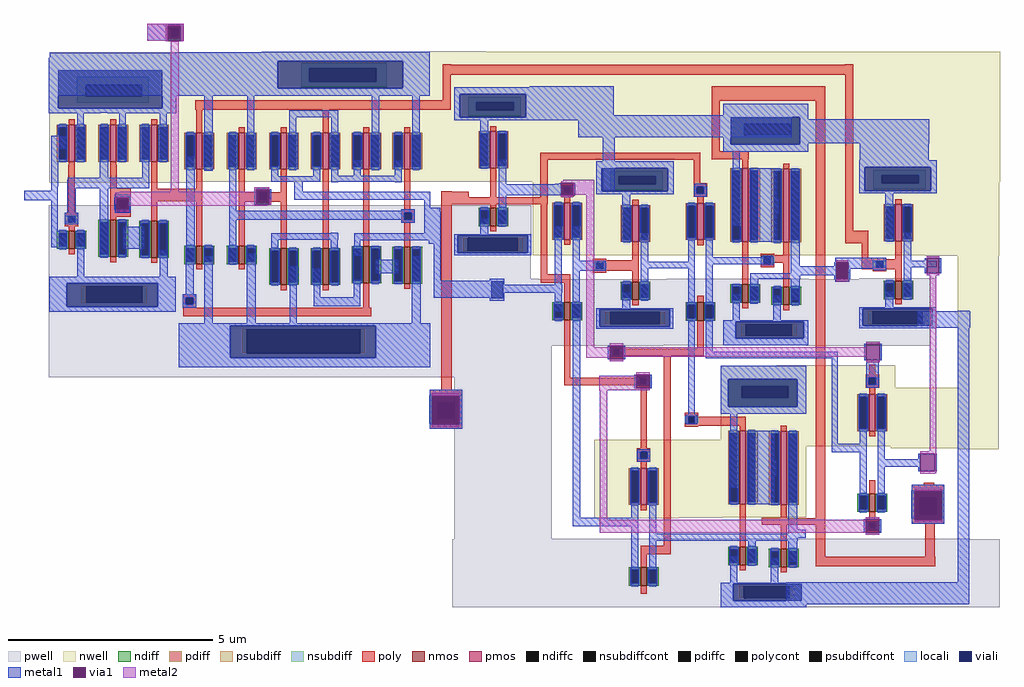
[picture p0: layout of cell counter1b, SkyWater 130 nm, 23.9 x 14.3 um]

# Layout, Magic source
magic
tech sky130A
<< nwell >>
rect 1539 1212 1676 1213
rect 608 891 961 1211
rect 1533 893 2935 1212
<< pwell >>
rect 606 415 1786 836
rect 2776 -54 2804 -16
<< poly >>
rect 892 1268 935 1281
rect 892 1250 905 1268
rect 922 1250 935 1268
rect 892 1238 935 1250
rect 1571 1180 1590 1181
rect 2556 1180 2576 1181
rect 1571 1155 2576 1180
rect 1571 1093 1590 1155
rect 1277 1070 1590 1093
rect 765 848 807 876
rect 765 831 779 848
rect 796 831 807 848
rect 856 846 982 876
rect 1114 867 1145 876
rect 1114 849 1122 867
rect 1139 849 1145 867
rect 1114 837 1145 849
rect 1567 869 1593 870
rect 1567 839 1598 869
rect 765 808 807 831
rect 1567 384 1593 839
rect 2556 773 2576 1155
rect 2556 743 2612 773
rect 2597 708 2612 743
rect 2597 704 2637 708
rect 2597 679 2667 704
rect 1538 352 1618 384
rect 1538 314 1558 352
rect 1598 314 1618 352
rect 1538 289 1618 314
rect 2748 151 2774 157
rect 2719 119 2799 151
rect 2719 81 2739 119
rect 2779 81 2799 119
rect 2719 56 2799 81
rect 2484 -25 2507 56
rect 2752 -25 2775 56
rect 2484 -48 2776 -25
<< polycont >>
rect 905 1250 922 1268
rect 779 831 796 848
rect 1122 849 1139 867
rect 1558 314 1598 352
rect 2739 81 2779 119
<< locali >>
rect 897 1271 928 1278
rect 897 1244 900 1271
rect 925 1244 928 1271
rect 897 1238 928 1244
rect 1114 870 1145 877
rect 767 856 805 858
rect 767 823 770 856
rect 802 823 805 856
rect 1114 843 1117 870
rect 1142 843 1145 870
rect 1114 837 1145 843
rect 767 819 805 823
rect 1537 370 1618 371
rect 1537 302 1545 370
rect 1611 302 1618 370
rect 2718 137 2799 138
rect 2718 69 2726 137
rect 2792 69 2799 137
<< viali >>
rect 900 1268 925 1271
rect 900 1250 905 1268
rect 905 1250 922 1268
rect 922 1250 925 1268
rect 900 1244 925 1250
rect 770 848 802 856
rect 770 831 779 848
rect 779 831 796 848
rect 796 831 802 848
rect 770 823 802 831
rect 1117 867 1142 870
rect 1117 849 1122 867
rect 1122 849 1139 867
rect 1139 849 1142 867
rect 1117 843 1142 849
rect 1545 352 1611 370
rect 1545 314 1558 352
rect 1558 314 1598 352
rect 1598 314 1611 352
rect 1545 298 1611 314
rect 2726 119 2792 137
rect 2726 81 2739 119
rect 2739 81 2779 119
rect 2779 81 2792 119
rect 2726 65 2792 81
<< metal1 >>
rect 847 1276 936 1281
rect 847 1239 897 1276
rect 892 1238 897 1239
rect 929 1239 936 1276
rect 929 1238 935 1239
rect 608 1104 931 1210
rect 1114 875 1145 876
rect 545 848 627 871
rect 767 856 805 863
rect 767 854 770 856
rect 802 854 805 856
rect 766 825 770 854
rect 802 825 806 854
rect 1109 837 1114 875
rect 1146 837 1151 875
rect 767 823 770 825
rect 802 823 805 825
rect 767 817 805 823
rect 1548 800 1566 820
rect 1536 742 1566 800
rect 1548 651 1566 742
rect 2529 655 2534 696
rect 2563 655 2568 696
rect 1548 610 1717 651
rect 1538 370 1618 384
rect 1538 298 1545 370
rect 1611 298 1618 370
rect 1538 289 1618 298
rect 2719 137 2799 151
rect 2719 65 2726 137
rect 2792 65 2799 137
rect 2719 56 2799 65
<< via1 >>
rect 897 1271 929 1276
rect 897 1244 900 1271
rect 900 1244 925 1271
rect 925 1244 929 1271
rect 897 1238 929 1244
rect 771 825 801 854
rect 1114 870 1146 875
rect 1114 843 1117 870
rect 1117 843 1142 870
rect 1142 843 1146 870
rect 1114 837 1146 843
rect 2534 655 2563 696
rect 1545 298 1611 370
rect 2726 65 2792 137
<< metal2 >>
rect 847 1276 936 1281
rect 847 1239 897 1276
rect 892 1238 897 1239
rect 929 1239 936 1276
rect 929 1238 935 1239
rect 904 869 924 1238
rect 1109 875 1146 880
rect 1109 869 1114 875
rect 779 866 1114 869
rect 769 854 1114 866
rect 769 840 771 854
rect 801 837 1114 854
rect 1146 837 1150 851
rect 801 835 1142 837
rect 771 820 801 825
rect 2534 696 2563 701
rect 2534 650 2563 655
rect 1545 370 1611 375
rect 1545 293 1611 298
rect 2726 137 2792 142
rect 2726 60 2792 65
use and  and_0
transform -1 0 918 0 1 893
box 0 -319 312 304
use xor2  xor2_0
transform -1 0 1538 0 1 893
box -26 -454 618 319
use dffc  dffc_0
transform 1 0 2027 0 1 396
box -433 -545 907 731
<< end >>

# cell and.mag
magic
tech sky130A
magscale 1 2
<< nwell >>
rect 0 336 624 608
<< pwell >>
rect 620 -638 622 -504
<< psubdiff >>
rect 144 -592 168 -510
rect 442 -592 466 -510
<< nsubdiff >>
rect 134 476 488 516
rect 134 420 170 476
rect 444 420 488 476
rect 134 388 488 420
<< psubdiffcont >>
rect 168 -592 442 -510
<< nsubdiffcont >>
rect 170 420 444 476
<< poly >>
rect 94 -34 124 90
rect 292 -32 324 84
rect 0 -94 124 -34
rect 222 -92 324 -32
rect 94 -170 124 -94
rect 292 -170 324 -92
rect 498 -150 530 84
rect 480 -216 546 -150
<< viali >>
rect 68 476 578 546
rect 68 420 170 476
rect 170 420 444 476
rect 444 420 578 476
rect 68 362 578 420
rect 92 -510 536 -496
rect 92 -592 168 -510
rect 168 -592 442 -510
rect 442 -592 536 -510
rect 92 -612 536 -592
<< metal1 >>
rect 0 546 624 608
rect 0 362 68 546
rect 578 362 624 546
rect 0 338 624 362
rect 0 336 336 338
rect 370 336 624 338
rect 48 100 82 336
rect 132 20 168 278
rect 248 170 280 336
rect 248 112 284 170
rect 248 108 280 112
rect 334 20 374 264
rect 454 96 486 336
rect 580 224 612 226
rect 538 162 612 224
rect 132 12 532 20
rect 132 -32 534 12
rect 578 -22 612 162
rect 158 -328 260 -220
rect 42 -464 82 -334
rect 334 -368 374 -32
rect 492 -150 534 -32
rect 480 -206 546 -150
rect 580 -258 612 -22
rect 452 -464 486 -258
rect 540 -320 612 -258
rect 2 -496 622 -464
rect 2 -612 92 -496
rect 536 -612 622 -496
rect 2 -636 622 -612
use sky130_fd_pr__nfet_01v8_P8KVP3  sky130_fd_pr__nfet_01v8_P8KVP3_0
transform 1 0 109 0 1 -280
box -73 -116 73 116
use sky130_fd_pr__nfet_01v8_P8KVP3  sky130_fd_pr__nfet_01v8_P8KVP3_1
transform 1 0 309 0 1 -276
box -73 -116 73 116
use sky130_fd_pr__nfet_01v8_J83WCX  sky130_fd_pr__nfet_01v8_J83WCX_0
transform 1 0 513 0 1 -252
box -73 -102 73 102
use sky130_fd_pr__pfet_01v8_BHXHFC  sky130_fd_pr__pfet_01v8_BHXHFC_0
transform 1 0 109 0 1 154
box -109 -154 109 188
use sky130_fd_pr__pfet_01v8_BHXHFC  sky130_fd_pr__pfet_01v8_BHXHFC_1
transform 1 0 309 0 1 154
box -109 -154 109 188
use sky130_fd_pr__pfet_01v8_BHXHFC  sky130_fd_pr__pfet_01v8_BHXHFC_2
transform 1 0 513 0 1 154
box -109 -154 109 188
<< end >>

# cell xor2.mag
magic
tech sky130A
magscale 1 2
<< nwell >>
rect 0 542 1236 636
rect -2 238 1236 542
rect 0 206 1236 238
rect 134 0 686 30
rect 818 0 1236 206
<< pwell >>
rect -2 -486 1230 -306
rect -4 -908 1230 -486
<< psubdiff >>
rect 314 -838 338 -722
rect 896 -838 920 -722
<< nsubdiff >>
rect 210 556 628 584
rect 210 492 260 556
rect 590 492 628 556
rect 210 464 628 492
<< psubdiffcont >>
rect 338 -838 896 -722
<< nsubdiffcont >>
rect 260 492 590 556
<< poly >>
rect 494 354 1148 400
rect 494 268 524 354
rect 1112 260 1142 354
rect 94 -134 124 42
rect 72 -150 138 -134
rect 72 -184 88 -150
rect 124 -184 138 -150
rect 72 -200 138 -184
rect 94 -304 124 -200
rect 294 -302 324 44
rect 494 -302 524 44
rect 698 -50 728 44
rect 904 -50 934 40
rect 698 -98 934 -50
rect 698 -302 728 -98
rect 904 -306 934 -98
rect 1112 -304 1142 42
rect 294 -616 324 -512
rect 1142 -566 1208 -550
rect 1142 -600 1158 -566
rect 1194 -600 1208 -566
rect 1142 -616 1208 -600
rect 286 -618 1208 -616
rect 286 -658 1206 -618
<< polycont >>
rect 88 -184 124 -150
rect 1158 -600 1194 -566
<< locali >>
rect 72 -150 138 -134
rect 72 -184 88 -150
rect 124 -184 138 -150
rect 72 -200 138 -184
rect 1142 -566 1208 -550
rect 1142 -600 1158 -566
rect 1194 -600 1208 -566
rect 1142 -616 1208 -600
<< viali >>
rect 132 556 744 590
rect 132 492 260 556
rect 260 492 590 556
rect 590 492 744 556
rect 132 458 744 492
rect 88 -184 124 -150
rect 1158 -600 1194 -566
rect 264 -722 976 -704
rect 264 -838 338 -722
rect 338 -838 896 -722
rect 896 -838 976 -722
rect 264 -860 976 -838
<< metal1 >>
rect 0 636 822 638
rect 0 590 1236 636
rect 0 458 132 590
rect 744 458 1236 590
rect 0 422 1236 458
rect 48 62 84 422
rect 136 30 170 104
rect 246 58 282 422
rect 448 316 686 352
rect 336 30 370 106
rect 448 30 482 316
rect 136 0 482 30
rect 536 28 570 78
rect 652 58 686 316
rect 740 28 774 78
rect 858 58 892 422
rect 536 0 776 28
rect 136 -2 170 0
rect 448 -2 482 0
rect 622 -48 662 0
rect -4 -88 662 -48
rect -4 -126 26 -88
rect -52 -200 26 -126
rect 72 -142 138 -134
rect 946 -142 980 230
rect 1062 56 1102 422
rect 72 -150 980 -142
rect 72 -184 88 -150
rect 124 -184 980 -150
rect 72 -200 138 -184
rect -4 -250 26 -200
rect 450 -250 484 -248
rect -4 -286 368 -250
rect 448 -282 776 -250
rect 338 -362 368 -286
rect 450 -332 484 -282
rect 742 -334 776 -282
rect 44 -692 86 -364
rect 154 -446 264 -380
rect 338 -564 370 -480
rect 534 -532 568 -426
rect 536 -564 568 -532
rect 338 -608 568 -564
rect 650 -692 684 -414
rect 852 -692 894 -352
rect 946 -388 980 -184
rect 1062 -692 1104 -364
rect 1150 -366 1192 124
rect 1150 -394 1194 -366
rect 1154 -550 1194 -394
rect 1142 -566 1208 -550
rect 1142 -600 1158 -566
rect 1194 -600 1208 -566
rect 1142 -616 1208 -600
rect -4 -704 1228 -692
rect -4 -860 264 -704
rect 976 -860 1228 -704
rect -4 -908 1228 -860
use sky130_fd_pr__nfet_01v8_P8KVP3  sky130_fd_pr__nfet_01v8_P8KVP3_1
transform 1 0 309 0 1 -406
box -73 -116 73 116
use sky130_fd_pr__nfet_01v8_P8KVP3  sky130_fd_pr__nfet_01v8_P8KVP3_0
transform 1 0 109 0 1 -408
box -73 -116 73 116
use sky130_fd_pr__nfet_01v8_P8KVP3  sky130_fd_pr__nfet_01v8_P8KVP3_2
transform 1 0 509 0 1 -414
box -73 -116 73 116
use sky130_fd_pr__nfet_01v8_J836M4  sky130_fd_pr__nfet_01v8_J836M4_0
transform 1 0 919 0 1 -357
box -73 -71 73 71
use sky130_fd_pr__nfet_01v8_P8KVP3  sky130_fd_pr__nfet_01v8_P8KVP3_3
transform 1 0 713 0 1 -414
box -73 -116 73 116
use sky130_fd_pr__nfet_01v8_J836M4  sky130_fd_pr__nfet_01v8_J836M4_1
transform 1 0 1127 0 1 -357
box -73 -71 73 71
use sky130_fd_pr__pfet_01v8_5AYHFE  sky130_fd_pr__pfet_01v8_5AYHFE_0
transform 1 0 109 0 1 152
box -109 -152 109 152
use sky130_fd_pr__pfet_01v8_5AYHFE  sky130_fd_pr__pfet_01v8_5AYHFE_1
transform 1 0 309 0 1 152
box -109 -152 109 152
use sky130_fd_pr__pfet_01v8_5AYHFE  sky130_fd_pr__pfet_01v8_5AYHFE_2
transform 1 0 509 0 1 152
box -109 -152 109 152
use sky130_fd_pr__pfet_01v8_5AYHFE  sky130_fd_pr__pfet_01v8_5AYHFE_3
transform 1 0 713 0 1 152
box -109 -152 109 152
use sky130_fd_pr__pfet_01v8_5AYHFE  sky130_fd_pr__pfet_01v8_5AYHFE_4
transform 1 0 919 0 1 152
box -109 -152 109 152
use sky130_fd_pr__pfet_01v8_5AYHFE  sky130_fd_pr__pfet_01v8_5AYHFE_5
transform 1 0 1127 0 1 152
box -109 -152 109 152
<< end >>

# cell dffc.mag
magic
tech sky130A
magscale 1 2
<< nwell >>
rect -866 998 1812 1462
rect -472 654 -142 998
rect -472 636 -160 654
rect 210 636 464 998
rect 862 636 1812 998
rect 258 634 442 636
rect 1450 632 1812 636
rect 722 -14 1302 96
rect 1608 -14 1810 632
rect -172 -288 452 -268
rect -172 -650 456 -288
rect 722 -300 1810 -14
rect 1280 -310 1810 -300
rect 1608 -314 1810 -310
rect -172 -652 242 -650
<< pwell >>
rect -858 520 -484 800
rect -860 518 -444 520
rect 184 518 880 520
rect -860 498 166 518
rect 184 498 1500 518
rect -860 196 1478 498
rect -858 194 1478 196
rect -858 192 166 194
rect 866 192 1478 194
rect -858 -754 -380 192
rect -858 -756 1668 -754
rect -866 -1090 1814 -756
<< nmos >>
rect 334 314 364 404
rect 1176 -622 1206 -532
rect 56 -984 86 -894
<< pmos >>
rect 334 710 364 890
rect 56 -588 86 -408
rect 1176 -226 1206 -46
<< ndiff >>
rect 276 392 334 404
rect 276 326 288 392
rect 322 326 334 392
rect 276 314 334 326
rect 364 392 422 404
rect 364 326 376 392
rect 410 326 422 392
rect 364 314 422 326
rect 1118 -544 1176 -532
rect 1118 -610 1130 -544
rect 1164 -610 1176 -544
rect 1118 -622 1176 -610
rect 1206 -544 1264 -532
rect 1206 -610 1218 -544
rect 1252 -610 1264 -544
rect 1206 -622 1264 -610
rect -2 -906 56 -894
rect -2 -972 10 -906
rect 44 -972 56 -906
rect -2 -984 56 -972
rect 86 -906 144 -894
rect 86 -972 98 -906
rect 132 -972 144 -906
rect 86 -984 144 -972
<< pdiff >>
rect 276 878 334 890
rect 276 722 288 878
rect 322 722 334 878
rect 276 710 334 722
rect 364 878 422 890
rect 364 722 376 878
rect 410 722 422 878
rect 364 710 422 722
rect -2 -420 56 -408
rect -2 -576 10 -420
rect 44 -576 56 -420
rect -2 -588 56 -576
rect 86 -420 144 -408
rect 86 -576 98 -420
rect 132 -576 144 -420
rect 86 -588 144 -576
rect 1118 -58 1176 -46
rect 1118 -214 1130 -58
rect 1164 -214 1176 -58
rect 1118 -226 1176 -214
rect 1206 -58 1264 -46
rect 1206 -214 1218 -58
rect 1252 -214 1264 -58
rect 1206 -226 1264 -214
<< ndiffc >>
rect 288 326 322 392
rect 376 326 410 392
rect 1130 -610 1164 -544
rect 1218 -610 1252 -544
rect 10 -972 44 -906
rect 98 -972 132 -906
<< pdiffc >>
rect 288 722 322 878
rect 376 722 410 878
rect 10 -576 44 -420
rect 98 -576 132 -420
rect 1130 -214 1164 -58
rect 1218 -214 1252 -58
<< poly >>
rect 404 1392 960 1462
rect 404 1144 444 1392
rect -436 1102 348 1138
rect 404 1106 586 1144
rect -866 918 -786 946
rect -436 918 -398 1102
rect 316 987 348 1102
rect 554 1078 584 1106
rect 316 971 382 987
rect 316 937 332 971
rect 366 937 382 971
rect 316 921 382 937
rect -866 888 -398 918
rect 334 890 364 921
rect -866 886 -402 888
rect -434 542 -402 886
rect 334 684 364 710
rect -178 610 -112 618
rect -178 558 46 610
rect -178 550 -112 558
rect -434 500 -288 542
rect -318 422 -288 500
rect 334 404 364 436
rect -318 36 -288 308
rect 334 178 364 314
rect -70 142 364 178
rect 34 36 100 51
rect -318 -2 100 36
rect 34 -16 100 -2
rect 56 -311 86 -16
rect 38 -327 104 -311
rect 38 -361 54 -327
rect 88 -361 104 -327
rect 38 -377 104 -361
rect 56 -408 86 -377
rect 56 -614 86 -588
rect 170 -788 204 142
rect 272 -156 338 -136
rect 272 -200 572 -156
rect 272 -204 338 -200
rect 914 -654 960 1392
rect 1200 566 1320 616
rect 1176 51 1206 98
rect 1158 35 1224 51
rect 1158 1 1174 35
rect 1208 1 1224 35
rect 1158 -15 1224 1
rect 1176 -46 1206 -15
rect 1176 -252 1206 -226
rect 1176 -532 1206 -468
rect 648 -686 960 -654
rect 1176 -660 1206 -622
rect 56 -830 204 -788
rect 56 -894 86 -830
rect 56 -1022 86 -984
<< polycont >>
rect 332 937 366 971
rect 54 -361 88 -327
rect 1174 1 1208 35
<< locali >>
rect 316 937 332 971
rect 366 937 382 971
rect 288 878 322 894
rect 288 706 322 722
rect 376 878 410 894
rect 376 706 410 722
rect 288 392 322 408
rect 288 310 322 326
rect 376 392 410 408
rect 376 310 410 326
rect 1158 1 1174 35
rect 1208 1 1224 35
rect 1130 -58 1164 -42
rect 1130 -230 1164 -214
rect 1218 -58 1252 -42
rect 1218 -230 1252 -214
rect 38 -361 54 -327
rect 88 -361 104 -327
rect 10 -420 44 -404
rect 10 -592 44 -576
rect 98 -420 132 -404
rect 98 -592 132 -576
rect 1130 -544 1164 -528
rect 1130 -626 1164 -610
rect 1218 -544 1252 -528
rect 1218 -626 1252 -610
rect 10 -906 44 -890
rect 10 -988 44 -972
rect 98 -906 132 -890
rect 98 -988 132 -972
<< viali >>
rect 332 937 366 971
rect 288 722 322 878
rect 376 722 410 878
rect 1014 518 1072 600
rect -676 424 -618 508
rect 288 326 322 392
rect 376 326 410 392
rect 1174 1 1208 35
rect 1130 -214 1164 -58
rect 1218 -214 1252 -58
rect 54 -361 88 -327
rect 10 -576 44 -420
rect 98 -576 132 -420
rect 1130 -610 1164 -544
rect 1218 -610 1252 -544
rect 10 -972 44 -906
rect 98 -972 132 -906
<< metal1 >>
rect -486 1320 -76 1462
rect -486 1296 796 1320
rect -250 1214 796 1296
rect -342 986 -332 988
rect -362 984 -332 986
rect -620 930 -332 984
rect -342 928 -332 930
rect -274 928 -264 988
rect -130 954 -70 1214
rect 836 1184 1470 1302
rect 1128 1066 1468 1184
rect 318 971 378 986
rect 318 937 332 971
rect 366 937 380 971
rect 318 922 380 937
rect 282 878 328 890
rect -682 508 -612 520
rect -682 424 -676 508
rect -618 490 -612 508
rect -364 490 -330 778
rect -276 608 -242 778
rect 282 722 288 878
rect 322 722 328 878
rect 282 710 328 722
rect 370 878 416 890
rect 370 722 376 878
rect 410 722 416 878
rect 370 710 416 722
rect -276 560 -114 608
rect 288 604 322 710
rect 56 572 322 604
rect -618 452 -328 490
rect -618 424 -612 452
rect -682 412 -612 424
rect -364 362 -330 452
rect -276 362 -242 560
rect 288 404 322 572
rect 376 626 410 710
rect 376 592 696 626
rect 1008 600 1258 622
rect 376 404 410 592
rect 1008 580 1014 600
rect 834 536 1014 580
rect 1008 518 1014 536
rect 1072 570 1258 600
rect 1072 518 1078 570
rect 1196 562 1258 570
rect 1448 546 1458 620
rect 1518 546 1528 620
rect 1008 506 1078 518
rect 282 392 328 404
rect -276 -650 -240 362
rect 282 326 288 392
rect 322 326 328 392
rect 282 314 328 326
rect 370 392 416 404
rect 370 326 376 392
rect 410 326 416 392
rect 1608 360 1666 364
rect 370 314 416 326
rect -106 126 -96 193
rect -30 126 -20 193
rect 288 156 322 314
rect 376 162 410 314
rect 1412 280 1670 360
rect 24 -16 34 51
rect 100 -16 110 51
rect 288 -150 320 156
rect 374 130 1022 162
rect 992 -288 1022 130
rect 1150 122 1160 202
rect 1226 122 1236 202
rect 1162 48 1222 122
rect 1160 35 1222 48
rect 1160 1 1174 35
rect 1208 1 1222 35
rect 1160 -14 1222 1
rect 1124 -58 1170 -46
rect 1124 -214 1130 -58
rect 1164 -214 1170 -58
rect 1124 -226 1170 -214
rect 1212 -58 1258 -46
rect 1212 -214 1218 -58
rect 1252 -214 1258 -58
rect 1212 -226 1258 -214
rect 1130 -288 1164 -226
rect 40 -327 102 -314
rect 40 -361 54 -327
rect 88 -361 102 -327
rect 992 -330 1164 -288
rect 40 -376 102 -361
rect 4 -420 50 -408
rect 4 -576 10 -420
rect 44 -576 50 -420
rect 4 -588 50 -576
rect 92 -420 138 -408
rect 92 -576 98 -420
rect 132 -576 138 -420
rect 1130 -532 1164 -330
rect 1218 -364 1252 -226
rect 1416 -364 1426 -336
rect 1218 -400 1426 -364
rect 1218 -532 1252 -400
rect 1416 -424 1426 -400
rect 1496 -424 1506 -336
rect 92 -588 138 -576
rect 1124 -544 1170 -532
rect 10 -650 44 -588
rect -276 -692 44 -650
rect 10 -894 44 -692
rect 98 -728 132 -588
rect 1124 -610 1130 -544
rect 1164 -610 1170 -544
rect 1124 -622 1170 -610
rect 1212 -544 1258 -532
rect 1212 -610 1218 -544
rect 1252 -610 1258 -544
rect 1212 -622 1258 -610
rect 1148 -724 1158 -657
rect 1224 -724 1234 -657
rect 98 -762 808 -728
rect 98 -894 132 -762
rect 4 -906 50 -894
rect 4 -972 10 -906
rect 44 -972 50 -906
rect 4 -984 50 -972
rect 92 -906 138 -894
rect 92 -972 98 -906
rect 132 -972 138 -906
rect 1608 -966 1666 280
rect 92 -984 138 -972
rect 768 -1072 1666 -966
rect 768 -1074 1664 -1072
<< via1 >>
rect -332 928 -274 988
rect 1458 546 1518 620
rect -96 126 -30 193
rect 34 -16 100 51
rect 1160 122 1226 202
rect 1426 -424 1496 -336
rect 1158 -724 1224 -657
<< metal2 >>
rect -322 998 -172 1004
rect -332 988 -172 998
rect -274 932 -172 988
rect -332 918 -274 928
rect -210 184 -172 932
rect 1458 620 1518 630
rect 1458 536 1518 546
rect -96 193 -30 203
rect -210 132 -96 184
rect 1160 202 1226 212
rect -30 138 1160 184
rect -96 116 -30 126
rect 1160 112 1226 122
rect 34 51 100 61
rect -146 -16 34 46
rect -146 -26 100 -16
rect -144 -660 -108 -26
rect 1472 -326 1504 536
rect 1426 -336 1504 -326
rect 1496 -424 1504 -336
rect 1426 -432 1504 -424
rect 1426 -434 1496 -432
rect 1158 -657 1224 -647
rect -144 -724 1158 -660
rect 1158 -734 1224 -724
use sky130_fd_pr__pfet_01v8_ACP95B  sky130_fd_pr__pfet_01v8_ACP95B_5
transform 1 0 67 0 1 -52
box -33 36 33 103
use sky130_fd_pr__pfet_01v8_ACP95B  sky130_fd_pr__pfet_01v8_ACP95B_2
transform 1 0 305 0 1 -240
box -33 36 33 103
use nor  nor_1
transform 1 0 510 0 1 -344
box -62 -746 356 438
use sky130_fd_pr__pfet_01v8_ACP95B  sky130_fd_pr__pfet_01v8_ACP95B_6
transform 1 0 1191 0 1 -760
box -33 36 33 103
use sky130_fd_pr__nfet_01v8_J836M4  sky130_fd_pr__nfet_01v8_J836M4_0
transform 1 0 -303 0 1 361
box -73 -71 73 71
use sky130_fd_pr__pfet_01v8_A663FE  sky130_fd_pr__pfet_01v8_A663FE_0
transform 1 0 -303 0 1 838
box -109 -188 109 154
use inverter2  inverter2_1
transform 1 0 -774 0 1 1000
box -84 -364 296 458
use sky130_fd_pr__pfet_01v8_ACP95B  sky130_fd_pr__pfet_01v8_ACP95B_3
transform 1 0 -63 0 1 90
box -33 36 33 103
use sky130_fd_pr__pfet_01v8_ACP95B  sky130_fd_pr__pfet_01v8_ACP95B_0
transform 1 0 -145 0 1 514
box -33 36 33 103
use inverter2  inverter2_0
transform 1 0 -78 0 1 638
box -84 -364 296 458
use sky130_fd_pr__pfet_01v8_ACP95B  sky130_fd_pr__pfet_01v8_ACP95B_1
transform 1 0 677 0 1 540
box -33 36 33 103
use nor  nor_0
transform 1 0 522 0 1 940
box -62 -746 356 438
use sky130_fd_pr__pfet_01v8_ACP95B  sky130_fd_pr__pfet_01v8_ACP95B_4
transform 1 0 1227 0 1 520
box -33 36 33 103
use inverter2  inverter2_2
transform 1 0 1210 0 1 642
box -84 -364 296 458
<< end >>

# cell sky130_fd_pr__pfet_01v8_ACP95B: kit device sky130_fd_pr__pfet_01v8, w 0.42 l 0.15 m 1 nf 1 diffcov 100 polycov 100 guard 0 glc 0 grc 0 gtc 0 gbc 0 tbcov 100 rlcov 100 topc 1 botc 0 poverlap 0 doverlap 0 lmin 0.15 wmin 0.42 compatible {sky130_fd_pr__pfet_01v8 sky130_fd_pr__pfet_01v8_lvt sky130_fd_pr__pfet_01v8_hvt sky130_fd_pr__pfet_g5v0d10v5} full_metal 0 viasrc 100 viadrn 100 viagate 100 viagb 0 viagr 0 viagl 0 viagt 0

# cell nor: kit device sky130_fd_pr__pfet_01v8, w 0.9 l 0.15 m 1 nf 2 diffcov 100 polycov 100 guard 0 glc 0 grc 0 gtc 0 gbc 0 tbcov 100 rlcov 100 topc 0 botc 0 poverlap 0 doverlap 1 lmin 0.15 wmin 0.42 compatible {sky130_fd_pr__pfet_01v8 sky130_fd_pr__pfet_01v8_lvt sky130_fd_pr__pfet_01v8_hvt sky130_fd_pr__pfet_g5v0d10v5} full_metal 0 viasrc 100 viadrn 100 viagate 100 viagb 0 viagr 0 viagl 0 viagt 0

# cell sky130_fd_pr__nfet_01v8_J836M4: kit device sky130_fd_pr__nfet_01v8, w 0.45 l 0.150 m 1 nf 1 diffcov 100 polycov 100 guard 0 glc 0 grc 0 gtc 0 gbc 0 tbcov 100 rlcov 100 topc 0 botc 0 poverlap 0 doverlap 1 lmin 0.15 wmin 0.42 compatible {sky130_fd_pr__nfet_01v8 sky130_fd_pr__nfet_01v8_lvt sky130_fd_bs_flash__special_sonosfet_star sky130_fd_pr__nfet_g5v0d10v5 sky130_fd_pr__nfet_05v0_nvt} full_metal 0 viasrc 100 viadrn 100 viagate 100 viagb 0 viagr 0 viagl 0 viagt 0

# cell sky130_fd_pr__pfet_01v8_A663FE: kit device sky130_fd_pr__pfet_01v8, w 0.9 l 0.15 m 1 nf 1 diffcov 100 polycov 100 guard 0 glc 0 grc 0 gtc 0 gbc 0 tbcov 100 rlcov 100 topc 1 botc 0 poverlap 0 doverlap 1 lmin 0.15 wmin 0.42 compatible {sky130_fd_pr__pfet_01v8 sky130_fd_pr__pfet_01v8_lvt sky130_fd_pr__pfet_01v8_hvt sky130_fd_pr__pfet_g5v0d10v5} full_metal 0 viasrc 100 viadrn 100 viagate 100 viagb 0 viagr 0 viagl 0 viagt 0

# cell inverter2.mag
magic
tech sky130A
magscale 1 2
<< nwell >>
rect -84 -2 296 458
<< pwell >>
rect -84 -364 294 -120
<< psubdiff >>
rect -40 -342 -16 -280
rect 228 -342 252 -280
<< nsubdiff >>
rect -14 384 242 412
rect -14 346 26 384
rect 208 346 242 384
rect -14 316 242 346
<< psubdiffcont >>
rect -16 -342 228 -280
<< nsubdiffcont >>
rect 26 346 208 384
<< poly >>
rect 94 -122 124 48
<< viali >>
rect -56 384 268 424
rect -56 346 26 384
rect 26 346 208 384
rect 208 346 268 384
rect -56 310 268 346
rect -66 -280 276 -268
rect -66 -342 -16 -280
rect -16 -342 228 -280
rect 228 -342 276 -280
rect -66 -352 276 -342
<< metal1 >>
rect -84 424 296 458
rect -84 310 -56 424
rect 268 310 296 424
rect -84 296 296 310
rect 44 64 84 296
rect 134 -34 172 104
rect 134 -66 296 -34
rect 44 -262 84 -186
rect 134 -224 172 -66
rect -84 -268 294 -262
rect -84 -352 -66 -268
rect 276 -352 294 -268
rect -84 -364 294 -352
use sky130_fd_pr__nfet_01v8_J836M4  sky130_fd_pr__nfet_01v8_J836M4_0
transform 1 0 109 0 1 -177
box -73 -71 73 71
use sky130_fd_pr__pfet_01v8_5AYHFE  sky130_fd_pr__pfet_01v8_5AYHFE_0
transform 1 0 109 0 1 152
box -109 -152 109 152
<< end >>

# cell sky130_fd_pr__pfet_01v8_5AYHFE: kit device sky130_fd_pr__pfet_01v8, w 0.9 l 0.15 m 1 nf 1 diffcov 100 polycov 100 guard 0 glc 0 grc 0 gtc 0 gbc 0 tbcov 100 rlcov 100 topc 0 botc 0 poverlap 0 doverlap 1 lmin 0.15 wmin 0.42 compatible {sky130_fd_pr__pfet_01v8 sky130_fd_pr__pfet_01v8_lvt sky130_fd_pr__pfet_01v8_hvt sky130_fd_pr__pfet_g5v0d10v5} full_metal 0 viasrc 100 viadrn 100 viagate 100 viagb 0 viagr 0 viagl 0 viagt 0

# cell sky130_fd_pr__pfet_01v8_5CNMEE: kit device sky130_fd_pr__pfet_01v8, w 1.8 l 0.15 m 1 nf 1 diffcov 100 polycov 100 guard 0 glc 0 grc 0 gtc 0 gbc 0 tbcov 100 rlcov 100 topc 0 botc 0 poverlap 0 doverlap 1 lmin 0.15 wmin 0.42 compatible {sky130_fd_pr__pfet_01v8 sky130_fd_pr__pfet_01v8_lvt sky130_fd_pr__pfet_01v8_hvt sky130_fd_pr__pfet_g5v0d10v5} full_metal 0 viasrc 100 viadrn 100 viagate 100 viagb 0 viagr 0 viagl 0 viagt 0

# cell sky130_fd_pr__nfet_01v8_P8KVP3: kit device sky130_fd_pr__nfet_01v8, w 0.9 l 0.150 m 1 nf 1 diffcov 100 polycov 100 guard 0 glc 0 grc 0 gtc 0 gbc 0 tbcov 100 rlcov 100 topc 0 botc 0 poverlap 0 doverlap 1 lmin 0.15 wmin 0.42 compatible {sky130_fd_pr__nfet_01v8 sky130_fd_pr__nfet_01v8_lvt sky130_fd_bs_flash__special_sonosfet_star sky130_fd_pr__nfet_g5v0d10v5 sky130_fd_pr__nfet_05v0_nvt} full_metal 0 viasrc 100 viadrn 100 viagate 100 viagb 0 viagr 0 viagl 0 viagt 0

# cell sky130_fd_pr__nfet_01v8_J83WCX: kit device sky130_fd_pr__nfet_01v8, w 0.45 l 0.150 m 1 nf 1 diffcov 100 polycov 100 guard 0 glc 0 grc 0 gtc 0 gbc 0 tbcov 100 rlcov 100 topc 1 botc 0 poverlap 0 doverlap 1 lmin 0.15 wmin 0.42 compatible {sky130_fd_pr__nfet_01v8 sky130_fd_pr__nfet_01v8_lvt sky130_fd_bs_flash__special_sonosfet_star sky130_fd_pr__nfet_g5v0d10v5 sky130_fd_pr__nfet_05v0_nvt} full_metal 0 viasrc 100 viadrn 100 viagate 100 viagb 0 viagr 0 viagl 0 viagt 0

# cell sky130_fd_pr__pfet_01v8_BHXHFC: kit device sky130_fd_pr__pfet_01v8, w 0.9 l 0.15 m 1 nf 1 diffcov 100 polycov 100 guard 0 glc 0 grc 0 gtc 0 gbc 0 tbcov 100 rlcov 100 topc 0 botc 1 poverlap 0 doverlap 1 lmin 0.15 wmin 0.42 compatible {sky130_fd_pr__pfet_01v8 sky130_fd_pr__pfet_01v8_lvt sky130_fd_pr__pfet_01v8_hvt sky130_fd_pr__pfet_g5v0d10v5} full_metal 0 viasrc 100 viadrn 100 viagate 100 viagb 0 viagr 0 viagl 0 viagt 0
